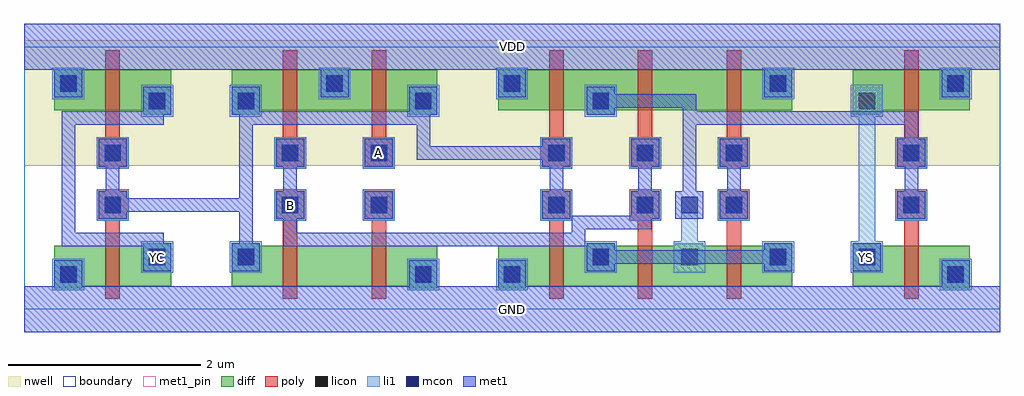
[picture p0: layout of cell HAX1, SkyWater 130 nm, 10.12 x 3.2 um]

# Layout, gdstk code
import gdstk
lib = gdstk.Library(unit=1e-6, precision=1e-09)
def R(c, l, rs):  # rectangles x0, y0, x1, y1
    for r in rs: c.add(gdstk.rectangle(r[:2], r[2:], *l))
def A(c, l, x, y, w, h, nx, ny, dx, dy):  # array of equal rectangles
    R(c, l, [(x+i*dx, y+j*dy, x+i*dx+w, y+j*dy+h) for i in range(nx) for j in range(ny)])
def P(c, l, *ps):  # polygons
    for p in ps: c.add(gdstk.Polygon(p, *l))
nwell = (64, 20)
diff = (65, 20)
poly = (66, 20)
licon = (66, 44)
li1 = (67, 20)
mcon = (67, 44)
met1_pin = (68, 16)
met1 = (68, 20)
boundary = (235, 4)

hax1 = lib.new_cell('HAX1')
P(hax1, nwell, [(0,1.485),(0,2.72),(0.005,2.72),(0.005,2.79),(10.115,2.79),(10.115,2.72),(10.12,2.72),(10.12,1.485)])
P(hax1, diff, [(0.315,0.215),(0.315,0.66),(1.235,0.66),(1.235,0.685),(1.525,0.685),(1.525,0.24),(0.605,0.24),(0.605,0.215)],
  [(3.995,0.215),(3.995,0.24),(2.155,0.24),(2.155,0.685),(2.445,0.685),(2.445,0.66),(4.285,0.66),(4.285,0.215)],
  [(4.915,0.215),(4.915,0.66),(5.835,0.66),(5.835,0.685),(6.125,0.685),(6.125,0.66),(6.755,0.66),(6.755,0.685),(7.045,0.685),(7.045,0.66),(7.675,0.66),(7.675,0.685),(7.965,0.685),(7.965,0.24),(5.205,0.24),(5.205,0.215)],
  [(9.515,0.215),(9.515,0.24),(8.595,0.24),(8.595,0.685),(8.885,0.685),(8.885,0.66),(9.805,0.66),(9.805,0.215)],
  [(1.235,2.015),(1.235,2.06),(0.315,2.06),(0.315,2.485),(0.605,2.485),(0.605,2.48),(1.525,2.48),(1.525,2.015)],
  [(2.155,2.015),(2.155,2.48),(3.075,2.48),(3.075,2.485),(3.365,2.485),(3.365,2.48),(4.285,2.48),(4.285,2.015),(3.995,2.015),(3.995,2.06),(2.445,2.06),(2.445,2.015)],
  [(5.835,2.015),(5.835,2.06),(4.915,2.06),(4.915,2.485),(5.205,2.485),(5.205,2.48),(7.675,2.48),(7.675,2.485),(7.965,2.485),(7.965,2.06),(6.125,2.06),(6.125,2.015)],
  [(8.595,2.015),(8.595,2.48),(9.515,2.48),(9.515,2.485),(9.805,2.485),(9.805,2.06),(8.885,2.06),(8.885,2.015)])
P(hax1, poly, [(0.845,0.11),(0.845,0.915),(0.755,0.915),(0.755,1.245),(1.085,1.245),(1.085,0.915),(0.995,0.915),(0.995,0.11)],
  [(2.685,0.11),(2.685,0.915),(2.595,0.915),(2.595,1.245),(2.925,1.245),(2.925,0.915),(2.835,0.915),(2.835,0.11)],
  [(3.605,0.11),(3.605,0.915),(3.515,0.915),(3.515,1.245),(3.845,1.245),(3.845,0.915),(3.755,0.915),(3.755,0.11)],
  [(5.445,0.11),(5.445,0.915),(5.355,0.915),(5.355,1.245),(5.685,1.245),(5.685,0.915),(5.595,0.915),(5.595,0.11)],
  [(6.365,0.11),(6.365,0.915),(6.275,0.915),(6.275,1.245),(6.605,1.245),(6.605,0.915),(6.515,0.915),(6.515,0.11)],
  [(7.285,0.11),(7.285,0.915),(7.195,0.915),(7.195,1.245),(7.525,1.245),(7.525,0.915),(7.435,0.915),(7.435,0.11)],
  [(9.125,0.11),(9.125,0.915),(9.035,0.915),(9.035,1.245),(9.365,1.245),(9.365,0.915),(9.275,0.915),(9.275,0.11)],
  [(0.755,1.455),(0.755,1.785),(0.845,1.785),(0.845,2.685),(0.995,2.685),(0.995,1.785),(1.085,1.785),(1.085,1.455)],
  [(2.595,1.455),(2.595,1.785),(2.685,1.785),(2.685,2.685),(2.835,2.685),(2.835,1.785),(2.925,1.785),(2.925,1.455)],
  [(3.515,1.455),(3.515,1.785),(3.605,1.785),(3.605,2.685),(3.755,2.685),(3.755,1.785),(3.845,1.785),(3.845,1.455)],
  [(5.355,1.455),(5.355,1.785),(5.445,1.785),(5.445,2.685),(5.595,2.685),(5.595,1.785),(5.685,1.785),(5.685,1.455)],
  [(6.275,1.455),(6.275,1.785),(6.365,1.785),(6.365,2.685),(6.515,2.685),(6.515,1.785),(6.605,1.785),(6.605,1.455)],
  [(7.195,1.455),(7.195,1.785),(7.285,1.785),(7.285,2.685),(7.435,2.685),(7.435,1.785),(7.525,1.785),(7.525,1.455)],
  [(9.035,1.455),(9.035,1.785),(9.125,1.785),(9.125,2.685),(9.275,2.685),(9.275,1.785),(9.365,1.785),(9.365,1.455)])
A(hax1, licon, 5.895, 0.455, 0.17, 0.17, 4, 1, 0.92, 0)
A(hax1, licon, 5.435, 0.995, 0.17, 0.17, 3, 2, 0.92, 0.54)
A(hax1, licon, 2.215, 2.075, 0.17, 0.17, 3, 1, 1.84, 0)
R(hax1, licon, [(0.375,0.275,0.545,0.445), (4.055,0.275,4.225,0.445), (4.975,0.275,5.145,0.445), (9.575,0.275,9.745,0.445), (1.295,0.455,1.465,0.625), (2.215,0.455,2.385,0.625), (0.835,0.995,1.005,1.165), (2.675,0.995,2.845,1.165), (3.595,0.995,3.765,1.165), (9.115,0.995,9.285,1.165), (0.835,1.535,1.005,1.705), (2.675,1.535,2.845,1.705), (3.595,1.535,3.765,1.705), (9.115,1.535,9.285,1.705), (1.295,2.075,1.465,2.245), (8.655,2.075,8.825,2.245), (0.375,2.255,0.545,2.425), (3.135,2.255,3.305,2.425), (4.975,2.255,5.145,2.425), (7.735,2.255,7.905,2.425), (9.575,2.255,9.745,2.425)])
A(hax1, li1, 5.355, 0.915, 0.33, 0.33, 3, 2, 0.92, 0.54)
A(hax1, li1, 2.135, 1.995, 0.33, 0.33, 3, 1, 1.84, 0)
R(hax1, li1, [(0.295,0.195,0.625,0.525), (3.975,0.195,4.305,0.525), (4.895,0.195,5.225,0.525), (9.495,0.195,9.825,0.525), (1.215,0.375,1.545,0.705), (2.135,0.375,2.465,0.705), (5.815,0.375,6.145,0.705), (7.655,0.375,7.985,0.705), (0.755,0.915,1.085,1.245), (2.595,0.915,2.925,1.245), (3.515,0.915,3.845,1.245), (9.035,0.915,9.365,1.245), (0.755,1.455,1.085,1.785), (2.595,1.455,2.925,1.785), (3.515,1.455,3.845,1.785), (9.035,1.455,9.365,1.785), (1.215,1.995,1.545,2.325), (0.295,2.175,0.625,2.505), (3.055,2.175,3.385,2.505), (4.895,2.175,5.225,2.505), (7.655,2.175,7.985,2.505), (9.495,2.175,9.825,2.505)])
P(hax1, li1, [(6.735,0.375),(6.735,0.705),(6.815,0.705),(6.815,1.165),(6.985,1.165),(6.985,0.705),(7.065,0.705),(7.065,0.375)],
  [(8.575,0.375),(8.575,0.705),(8.655,0.705),(8.655,1.995),(8.575,1.995),(8.575,2.325),(8.905,2.325),(8.905,1.995),(8.825,1.995),(8.825,0.705),(8.905,0.705),(8.905,0.375)])
A(hax1, mcon, 6.355, 0.995, 0.17, 0.17, 3, 1, 0.46, 0)
A(hax1, mcon, 5.435, 1.535, 0.17, 0.17, 3, 1, 0.92, 0)
A(hax1, mcon, 2.215, 2.075, 0.17, 0.17, 3, 1, 1.84, 0)
R(hax1, mcon, [(0.375,0.275,0.545,0.445), (4.055,0.275,4.225,0.445), (4.975,0.275,5.145,0.445), (9.575,0.275,9.745,0.445), (1.295,0.455,1.465,0.625), (2.215,0.455,2.385,0.625), (5.895,0.455,6.065,0.625), (7.735,0.455,7.905,0.625), (8.655,0.455,8.825,0.625), (0.835,0.995,1.005,1.165), (2.675,0.995,2.845,1.165), (3.595,0.995,3.765,1.165), (5.435,0.995,5.605,1.165), (9.115,0.995,9.285,1.165), (0.835,1.535,1.005,1.705), (2.675,1.535,2.845,1.705), (3.595,1.535,3.765,1.705), (9.115,1.535,9.285,1.705), (1.295,2.075,1.465,2.245), (0.375,2.255,0.545,2.425), (3.135,2.255,3.305,2.425), (4.975,2.255,5.145,2.425), (7.735,2.255,7.905,2.425), (9.575,2.255,9.745,2.425)])
R(hax1, met1_pin, [(0,-0.24,10.12,0.24), (8.595,0.395,8.885,0.685), (3.535,1.475,3.825,1.765), (0,2.48,10.12,2.96)])
P(hax1, met1_pin, [(1.235,0.395),(1.235,0.65),(0.39,0.65),(0.39,2.05),(1.235,2.05),(1.235,2.305),(1.525,2.305),(1.525,2.015),(1.45,2.015),(1.45,1.91),(0.53,1.91),(0.53,0.79),(1.45,0.79),(1.45,0.685),(1.525,0.685),(1.525,0.395)],
  [(2.69,0.65),(2.69,0.935),(2.615,0.935),(2.615,1.225),(2.69,1.225),(2.69,1.475),(2.615,1.475),(2.615,1.765),(2.905,1.765),(2.905,1.475),(2.83,1.475),(2.83,1.225),(2.905,1.225),(2.905,0.935),(2.83,0.935),(2.83,0.79),(5.68,0.79),(5.68,0.97),(6.295,0.97),(6.295,1.225),(6.37,1.225),(6.37,1.475),(6.295,1.475),(6.295,1.765),(6.585,1.765),(6.585,1.475),(6.51,1.475),(6.51,1.225),(6.585,1.225),(6.585,0.935),(6.51,0.935),(6.51,0.83),(5.82,0.83),(5.82,0.65)])
R(hax1, met1, [(8.595,0.395,8.885,0.685), (3.535,0.935,3.825,1.225), (3.535,1.475,3.825,1.765)])
P(hax1, met1, [(0,-0.24),(0,0.24),(0.315,0.24),(0.315,0.505),(0.605,0.505),(0.605,0.24),(3.995,0.24),(3.995,0.505),(4.285,0.505),(4.285,0.24),(4.915,0.24),(4.915,0.505),(5.205,0.505),(5.205,0.24),(9.515,0.24),(9.515,0.505),(9.805,0.505),(9.805,0.24),(10.12,0.24),(10.12,-0.24)],
  [(5.835,0.395),(5.835,0.685),(6.125,0.685),(6.125,0.61),(7.675,0.61),(7.675,0.685),(7.965,0.685),(7.965,0.395),(7.675,0.395),(7.675,0.47),(6.125,0.47),(6.125,0.395)],
  [(2.69,0.65),(2.69,0.935),(2.615,0.935),(2.615,1.225),(2.69,1.225),(2.69,1.475),(2.615,1.475),(2.615,1.765),(2.905,1.765),(2.905,1.475),(2.83,1.475),(2.83,1.225),(2.905,1.225),(2.905,0.935),(2.83,0.935),(2.83,0.79),(5.68,0.79),(5.68,0.97),(6.295,0.97),(6.295,1.225),(6.37,1.225),(6.37,1.475),(6.295,1.475),(6.295,1.765),(6.585,1.765),(6.585,1.475),(6.51,1.475),(6.51,1.225),(6.585,1.225),(6.585,0.935),(6.51,0.935),(6.51,0.83),(5.82,0.83),(5.82,0.65)],
  [(7.215,0.935),(7.215,1.225),(7.29,1.225),(7.29,1.475),(7.215,1.475),(7.215,1.765),(7.505,1.765),(7.505,1.475),(7.43,1.475),(7.43,1.225),(7.505,1.225),(7.505,0.935)],
  [(1.235,0.395),(1.235,0.65),(0.39,0.65),(0.39,2.05),(1.235,2.05),(1.235,2.305),(1.525,2.305),(1.525,2.015),(1.45,2.015),(1.45,1.91),(0.53,1.91),(0.53,0.79),(1.45,0.79),(1.45,0.685),(1.525,0.685),(1.525,0.395)],
  [(2.155,0.395),(2.155,0.685),(2.23,0.685),(2.23,1.01),(1.065,1.01),(1.065,0.935),(0.775,0.935),(0.775,1.225),(0.85,1.225),(0.85,1.475),(0.775,1.475),(0.775,1.765),(1.065,1.765),(1.065,1.475),(0.99,1.475),(0.99,1.225),(1.065,1.225),(1.065,1.15),(2.23,1.15),(2.23,2.015),(2.155,2.015),(2.155,2.305),(2.445,2.305),(2.445,2.05),(3.995,2.05),(3.995,2.305),(4.285,2.305),(4.285,2.015),(4.21,2.015),(4.21,1.69),(5.375,1.69),(5.375,1.765),(5.665,1.765),(5.665,1.475),(5.59,1.475),(5.59,1.225),(5.665,1.225),(5.665,0.935),(5.375,0.935),(5.375,1.225),(5.45,1.225),(5.45,1.475),(5.375,1.475),(5.375,1.55),(4.07,1.55),(4.07,1.91),(2.37,1.91),(2.37,0.685),(2.445,0.685),(2.445,0.395)],
  [(6.755,0.935),(6.755,1.225),(6.83,1.225),(6.83,2.09),(6.125,2.09),(6.125,2.015),(5.835,2.015),(5.835,2.305),(6.125,2.305),(6.125,2.23),(6.97,2.23),(6.97,2.05),(9.27,2.05),(9.27,1.765),(9.345,1.765),(9.345,1.475),(9.27,1.475),(9.27,1.225),(9.345,1.225),(9.345,0.935),(9.055,0.935),(9.055,1.225),(9.13,1.225),(9.13,1.475),(9.055,1.475),(9.055,1.765),(9.13,1.765),(9.13,1.91),(6.97,1.91),(6.97,1.225),(7.045,1.225),(7.045,0.935)],
  [(0.315,2.195),(0.315,2.48),(0,2.48),(0,2.96),(10.12,2.96),(10.12,2.48),(9.805,2.48),(9.805,2.195),(9.515,2.195),(9.515,2.48),(7.965,2.48),(7.965,2.195),(7.675,2.195),(7.675,2.48),(5.205,2.48),(5.205,2.195),(4.915,2.195),(4.915,2.48),(3.365,2.48),(3.365,2.195),(3.075,2.195),(3.075,2.48),(0.605,2.48),(0.605,2.195)])
R(hax1, boundary, [(0,0,10.12,2.72)])
hax1.add(gdstk.Label('YC', (1.38,0.54), layer=68, texttype=5))
hax1.add(gdstk.Label('YS', (8.74,0.54), layer=68, texttype=5))
hax1.add(gdstk.Label('A', (3.68,1.62), layer=68, texttype=5))
hax1.add(gdstk.Label('B', (2.76,1.08), layer=68, texttype=5))
hax1.add(gdstk.Label('GND', (5.06,0), layer=68, texttype=5))
hax1.add(gdstk.Label('VDD', (5.06,2.72), layer=68, texttype=5))

lib.write_gds('HAX1.gds')
